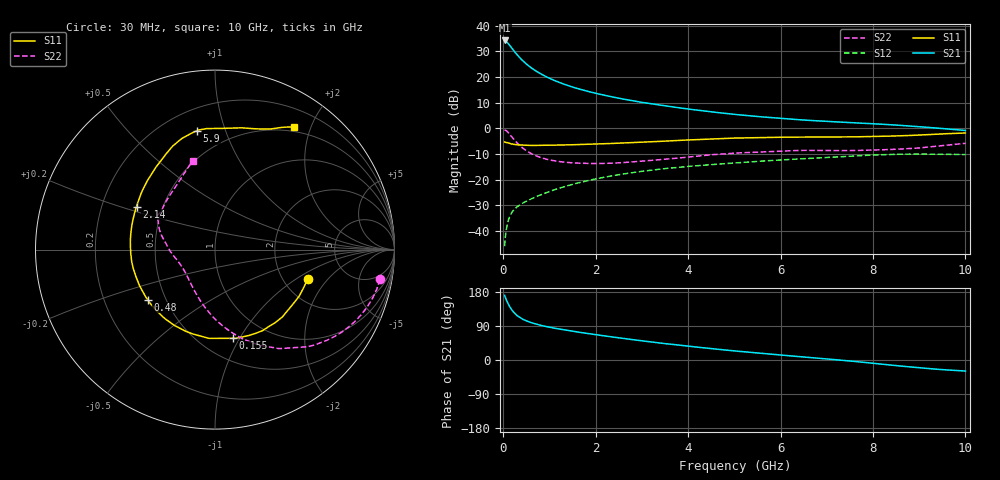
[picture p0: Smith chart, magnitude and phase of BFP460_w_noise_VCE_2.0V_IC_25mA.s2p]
! (c) 2016  Infineon Technologies AG, Munich
! Infineon Technologies  Discrete & RF Semiconductors
! BFP460
! VCE =  2.0 V,  IC =  25 mA
! Common Emitter S-Parameters:  Jan 2016
# GHz  S  MA  R  50
!  f  S11  S21  S12  S22
! GHz  MAG  ANG  MAG  ANG  MAG  ANG  MAG  ANG
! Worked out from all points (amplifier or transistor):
!   229 points, 30 MHz to 10 GHz, reference 50 ohm
!   highest |S21| = 34.2 dB at 30 MHz (marker M1)
!   |S21| within 3 dB of that: start of sweep to 186.8 MHz
!   unconditionally stable (mu >= 1): 1.583 GHz to 7.865 GHz
!   at 280 MHz: K = 0.48, MSG = 30.0 dB, |S12| = -30.8 dB
!   at 1.78 GHz: K = 1.01, MAG = 16.9 dB, |S12| = -20.5 dB
!   at 10 GHz: K = 0.98, MSG = 4.7 dB, |S12| = -10.2 dB
!   lowest NFmin = 1.36 dB at 450 MHz
!   S11 on the Smith chart (normalised r, x): 30 MHz: 2.72, -1.25; 155 MHz: 0.71, -0.94; 480 MHz: 0.40, -0.28; 2.14 GHz: 0.35, +0.23; 5.9 GHz: 0.33, +0.80; 10 GHz: 0.43, +1.75
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0.03  0.542 -17.5  51.24 170.7  0.0051 83.5  0.9351 -10.2
0.05  0.536 -28.8  49.87 163.7  0.0083 79.7  0.9186 -17.2
0.07  0.5285 -40.4  48.59 157.7  0.0111 75.6  0.8925 -23.9
0.09  0.5273 -50.6  46.62 152.4  0.0138 71.7  0.8592 -30.3
0.12  0.5182 -64.3  43.39 145.0  0.0173 67.2  0.8041 -38.8
0.155  0.5046 -78.4  39.52 137.7  0.0206 62.6  0.7366 -47.4
0.2  0.4957 -93.8  35.03 129.7  0.0241 58.9  0.6572 -57.1
0.22  0.4887 -99.2  33.22 127.1  0.0253 57.8  0.6252 -60.3
0.3  0.4792 -118.1  27.05 117.2  0.0297 54.8  0.5189 -73.0
0.4  0.4707 -134.2  21.61 109.0  0.0341 53.9  0.4275 -84.2
0.48  0.4677 -143.5  18.54 104.4  0.0373 54.0  0.3771 -91.4
0.64  0.4651 -157.1  14.36 97.3  0.0438 55.2  0.3116 -102.7
0.9  0.4689 -171.7  10.4 89.0  0.0547 56.9  0.2557 -116.7
1.2  0.4725 176.6  7.889 81.9  0.0679 57.7  0.2265 -128.3
1.7  0.4846 161.9  5.627 72.2  0.0903 56.5  0.2091 -142.1
2.14  0.4985 151.3  4.5 64.5  0.1099 54.1  0.2076 -152.1
3.4  0.5582 127.4  2.823 44.9  0.1609 44.2  0.2461 -176.8
5.1  0.6487 105.6  1.833 22.9  0.2149 31.2  0.3326 159.2
5.9  0.67 98.7  1.59 14.2  0.2398 25.2  0.3585 152.6
6.8  0.6745 91.1  1.397 4.9  0.265 18.8  0.3712 148.1
8.4  0.7068 72.4  1.172 -13.6  0.3111 4.4  0.3883 132.4
10  0.8123 57.3  0.91 -29.1  0.309 -8.2  0.5111 104.0
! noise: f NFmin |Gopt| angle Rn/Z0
0.45  1.36  0.13  -171  0.13
0.9  1.38  0.11  -170  0.13
1.9  1.49  0.23  -146  0.13
3.5  1.42  0.46  -122  0.16
